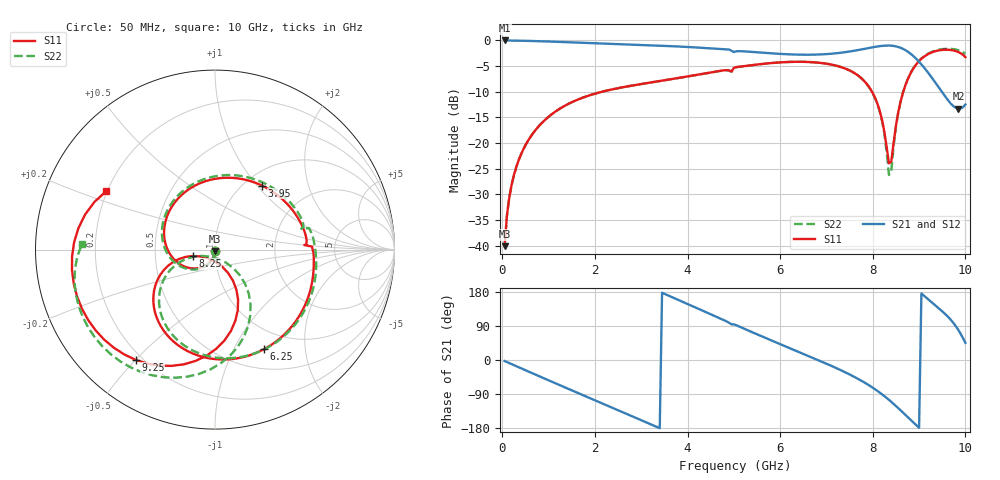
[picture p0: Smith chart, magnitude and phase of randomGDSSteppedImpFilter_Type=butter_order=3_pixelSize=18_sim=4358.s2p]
! freq	dB(S11)	phase(S11)	dB(S12)	phase(S12)
!  dB(S21)	phase(S21)	dB(S22)	phase(S22)
!S-par simulation data
#  GHz  S  DB  R 50
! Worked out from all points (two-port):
!   200 points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, 50 MHz to 10 GHz, reference 50 ohm
!   highest |S21| = -0.01 dB at 50 MHz (marker M1); lowest = -13.3 dB at 9.85 GHz (marker M2)
!   |S21| within 3 dB of the highest: start of sweep to 8.871 GHz
!   lowest |S11| = -40.1 dB at 50 MHz (marker M3), VSWR 1.02, Z = 50 - j0.991 ohm
!   |S11| at or under -10 dB: start of sweep to 2.152 GHz; 7.983 GHz to 8.659 GHz (675.5 MHz wide, 8.12 % of centre)
!   |S22| runs from -40.1 to -1.6 dB; largest |S21 - S12| = 0
!   S11 on the Smith chart (normalised r, x): 50 MHz: 1.00, -0.02; 3.95 GHz: 1.20, +1.06; 6.25 GHz: 0.74, -1.32; 8.25 GHz: 0.78, -0.06; 9.25 GHz: 0.17, -0.50; 10 GHz: 0.20, +0.24
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0.05  -40.07 -91.8  -0.01 -2.8  -0.01 -2.8  -40.07 -91.6
0.2  -28.18 -101.2  -0.02 -10.9  -0.02 -10.9  -28.18 -100.5
0.5  -20.41 -118.3  -0.08 -27.0  -0.08 -27.0  -20.41 -116.6
1.15  -13.83 -154.4  -0.26 -61.6  -0.26 -61.6  -13.84 -150.4
1.75  -11.10 172.9  -0.46 -93.1  -0.46 -93.1  -11.11 179.2
2.65  -9.04 124.1  -0.76 -140.2  -0.76 -140.2  -9.04 133.8
3.4  -7.91 83.4  -1.01 -179.9  -1.01 -179.9  -7.92 95.1
3.95  -7.08 53.8  -1.25 150.5  -1.25 150.5  -7.10 65.9
4.55  -6.14 21.8  -1.58 118.1  -1.58 118.1  -6.15 33.4
5.05  -5.19 -2.5  -2.12 91.9  -2.12 91.9  -5.21 8.4
6.25  -4.17 -64.0  -2.73 29.1  -2.73 29.1  -4.17 -55.8
6.7  -4.24 -86.2  -2.78 6.1  -2.78 6.1  -4.24 -78.7
7.8  -7.76 -146.0  -1.67 -58.0  -1.67 -58.0  -7.78 -139.7
8.1  -12.31 -163.5  -1.18 -81.5  -1.18 -81.5  -12.42 -158.4
8.25  -17.75 -164.0  -1.02 -95.2  -1.02 -95.2  -18.21 -161.4
8.35  -23.94 -130.9  -1.00 -105.2  -1.00 -105.2  -26.21 -126.7
8.7  -8.85 -69.4  -1.87 -144.3  -1.87 -144.3  -8.81 -56.9
9  -4.02 -99.9  -4.16 -178.7  -4.16 -178.7  -3.94 -87.3
9.25  -2.42 -125.8  -6.94 154.6  -6.94 154.6  -2.31 -111.9
9.6  -1.81 -161.2  -11.36 117.0  -11.36 117.0  -1.63 -143.8
9.85  -2.27 171.0  -13.30 78.8  -13.30 78.8  -1.91 -167.2
10  -3.25 151.7  -12.48 45.4  -12.48 45.4  -2.59 177.6
